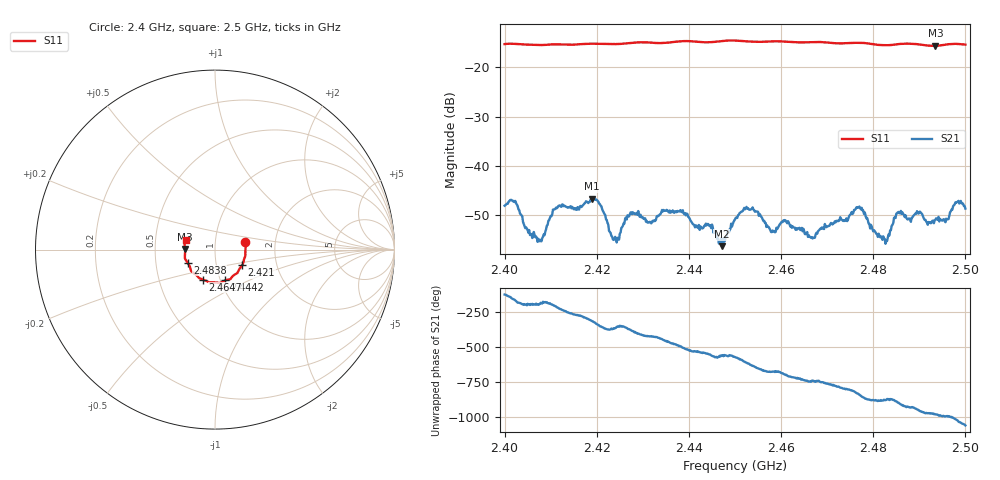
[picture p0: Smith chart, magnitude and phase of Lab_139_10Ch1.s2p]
# Hz S RI R 50
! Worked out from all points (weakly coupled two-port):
!   601 points, 2.4 GHz to 2.5 GHz, reference 50 ohm
!   highest |S21| = -46.73 dB at 2.419 GHz (marker M1); lowest = -56.4 dB at 2.4472 GHz (marker M2)
!   lowest |S11| = -15.6 dB at 2.4935 GHz (marker M3), VSWR 1.40, Z = 35.8 + j0.212 ohm
!   |S11| at or under -10 dB: start of sweep to end of sweep
!   S12 and S22 are empty: the file has one direction only
!   S11 on the Smith chart (normalised r, x): 2.4 GHz: 1.40, +0.12; 2.421 GHz: 1.33, -0.24; 2.4442 GHz: 1.05, -0.37; 2.4647 GHz: 0.83, -0.29; 2.4838 GHz: 0.73, -0.11; 2.5 GHz: 0.72, +0.08
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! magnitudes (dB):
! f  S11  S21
! 2.4 GHz  -15.2  -48.1
! 2.4077 GHz  -15.4  -55.4
! 2.411 GHz  -15.3  -48.8
! 2.4167 GHz  -15.3  -48.4
! 2.419 GHz  -15.2  -46.7
! 2.421 GHz  -15.2  -48.3
! 2.424 GHz  -15.2  -54.5
! 2.4277 GHz  -15.0  -49.9
! 2.4333 GHz  -15.0  -50.3
! 2.4442 GHz  -14.9  -51.9
! 2.4472 GHz  -14.6  -56.4
! 2.45 GHz  -14.5  -51.0
! 2.4533 GHz  -14.7  -49.0
! 2.4582 GHz  -14.7  -53.2
! 2.4647 GHz  -14.9  -53.4
! 2.4667 GHz  -14.8  -54.5
! 2.4767 GHz  -15.0  -48.4
! 2.4833 GHz  -15.5  -54.0
! 2.4838 GHz  -15.4  -53.1
! 2.4855 GHz  -15.3  -49.4
! 2.4935 GHz  -15.6  -51.0
! 2.5 GHz  -15.4  -48.7
